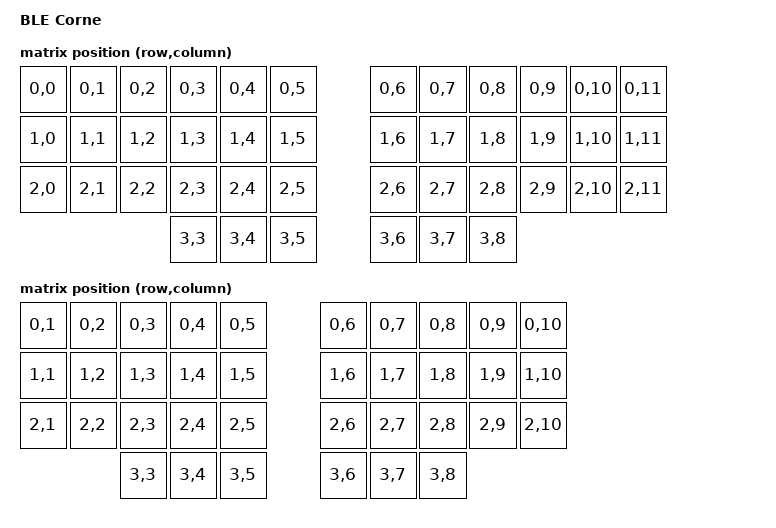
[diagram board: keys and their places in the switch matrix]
/*
* Copyright (c) 2024 Kyle Brown
* SPDX-License-Identifier: MIT
*/

/dts-v1/;
#include <nordic/nrf52840_qiaa.dtsi>
#include <common/nordic/nrf52840_uf2_boot_mode.dtsi>
#include <dt-bindings/zmk/matrix_transform.h>
#include <layouts/foostan/corne/6column.dtsi>
#include <layouts/foostan/corne/5column.dtsi>
#include "blecorne-pinctrl.dtsi"

&foostan_corne_6col_layout {
    transform = <&default_transform>;
};

&foostan_corne_5col_layout {
    transform = <&five_column_transform>;
};

/ {
    model = "BLE Corne";
    compatible = "blecorne";

    chosen {
        zephyr,code-partition = &code_partition;
        zephyr,sram = &sram0;
        zephyr,flash = &flash0;
        zmk,battery = &vbatt;
        zmk,kscan = &kscan0;
        zmk,physical-layout = &foostan_corne_6col_layout;
    };

    default_transform: keymap_transform_0 {
        compatible = "zmk,matrix-transform";
        columns = <12>;
        rows = <4>;
        map = <
        RC(0,0) RC(0,1) RC(0,2) RC(0,3) RC(0,4) RC(0,5)  RC(0,6) RC(0,7) RC(0,8) RC(0,9) RC(0,10) RC(0,11)
        RC(1,0) RC(1,1) RC(1,2) RC(1,3) RC(1,4) RC(1,5)  RC(1,6) RC(1,7) RC(1,8) RC(1,9) RC(1,10) RC(1,11)
        RC(2,0) RC(2,1) RC(2,2) RC(2,3) RC(2,4) RC(2,5)  RC(2,6) RC(2,7) RC(2,8) RC(2,9) RC(2,10) RC(2,11)
                                RC(3,3) RC(3,4) RC(3,5)  RC(3,6) RC(3,7) RC(3,8)
        >;
    };

    five_column_transform: keymap_transform_1 {
        compatible = "zmk,matrix-transform";
        columns = <10>;
        rows = <4>;
        map = <
        RC(0,1) RC(0,2) RC(0,3) RC(0,4) RC(0,5)  RC(0,6) RC(0,7) RC(0,8) RC(0,9) RC(0,10)
        RC(1,1) RC(1,2) RC(1,3) RC(1,4) RC(1,5)  RC(1,6) RC(1,7) RC(1,8) RC(1,9) RC(1,10)
        RC(2,1) RC(2,2) RC(2,3) RC(2,4) RC(2,5)  RC(2,6) RC(2,7) RC(2,8) RC(2,9) RC(2,10)
                        RC(3,3) RC(3,4) RC(3,5)  RC(3,6) RC(3,7) RC(3,8)
        >;
    };

    leds {
        compatible = "gpio-leds";
        blue_led: led_0 {
            gpios = <&gpio1 9 GPIO_ACTIVE_HIGH>;
        };
    };

    vbatt: vbatt {
        compatible = "zmk,battery-voltage-divider";
        io-channels = <&adc 2>;
        output-ohms =<2000000>;
        full-ohms = <(2000000 + 806000)>;
    };
};

&adc {
    status = "okay";
};

&gpiote {
    status = "okay";
};

&gpio0 {
    status = "okay";
};

&gpio1 {
    status = "okay";
};

zephyr_udc0: &usbd {
    status = "okay";
};

&flash0 {
    partitions {
        compatible = "fixed-partitions";
        #address-cells = <1>;
        #size-cells = <1>;

        sd_partition: partition@0 {
            label = "mbr";
            reg = <0x00000000 0x00001000>;
        };

        code_partition: partition@1000 {
            label = "code_partition";
            reg = <0x00001000 0x000d3000>;
        };

        storage_partition: partition@d4000 {
            label = "storage";
            reg = <0x000d4000 0x00020000>;
        };

        boot_partition: partition@f4000 {
            label = "adafruit_boot";
            reg = <0x000f4000 0x0000c000>;
        };
    };
};

nice_view_spi: &spi2 {
    status = "okay";
    compatible = "nordic,nrf-spim";
    pinctrl-0 = <&spi2_default>;
    pinctrl-1 = <&spi2_sleep>;
    pinctrl-names = "default", "sleep";
    cs-gpios = <&gpio0 19 GPIO_ACTIVE_HIGH>;
};
